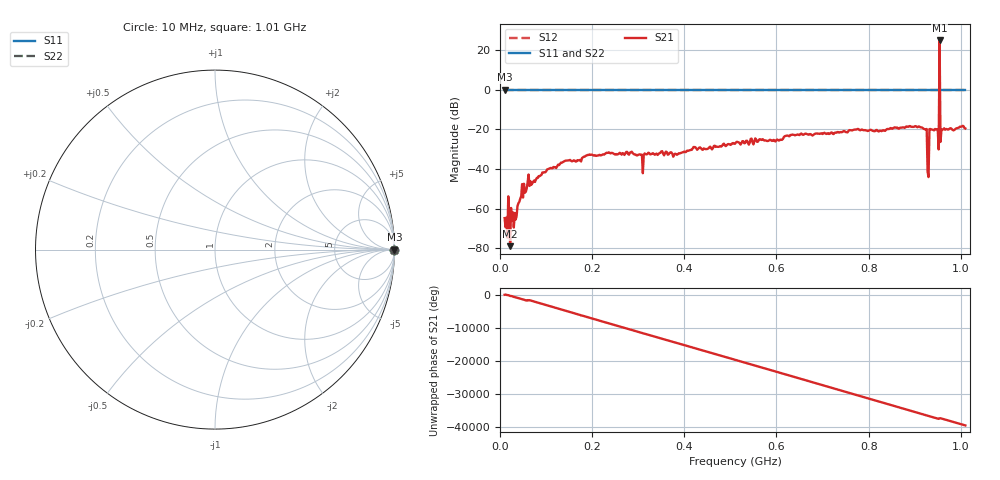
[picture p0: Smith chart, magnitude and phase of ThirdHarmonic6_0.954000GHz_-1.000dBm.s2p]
! 8/16/2025 6:57:51 AM
! C:\ANRITSUVNA\TEMP\TEMP.S2P
! CHANNEL.1
! TR.MEASUREMENT
! RAW.DATA
! RF.CORRECTION.OFF
! AVERAGING.OFF
! IF.BANDWIDTH: 5KHZ
! SWEEPTYPE:  FREQ.SWEEP(Linear)
! Reference Plane Port Info
! PORT:  PORT1  PORT2
! DISTANCE:  0  m  0  m
! TIME:  0  s  0  s
! PHASE.OFFSET:  0  deg.  0  deg.
! LOSS:  0  dB  0  dB
! REF.LOSS:  0  dB  0  dB
! REF.FREQ:  0  Hz  0  Hz
! Power Info
! POWER:  -20  dBm  -20  dBm
! EFF.POWER:  -20  dBm  -20  dBm
! SOURCE.ATTEN:  0  dB  0  dB
! TEST.ATTEN:  0  dB  0  dB
# GHZ S RI R 50.0
! FREQ.GHZ  S11RE  S11IM  S21RE  S21IM  S12RE  S12IM  S22RE  S22IM
!; PortSelection: Port_12
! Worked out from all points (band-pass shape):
!   501 points, 10 MHz to 1.01 GHz, reference 50 ohm
!   highest |S21| = 24.76 dB at 954 MHz (marker M1); lowest = -78.9 dB at 22 MHz (marker M2)
!   |S21| within 3 dB of the highest: 953.8908 MHz to 954.1173 MHz (226.5 kHz wide, 0.0237 % of centre)
!   lowest |S11| = 0.0 dB at 10 MHz (marker M3)
!   |S11| at or under -10 dB: nowhere
!   |S22| runs from 0.0 to 0.0 dB; largest |S21 - S12| = 18
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0.01  1 0  0.000507 -0.000274  1 0  1 0
0.022  1 0  9.5e-05 -6.13e-05  1 0  1 0
0.026  1 0  -8.91e-05 -0.000485  1 0  1 0
0.034  1 0  -9.33e-05 -0.000521  1 0  1 0
0.044  1 0  -0.0011 -0.00141  1 0  1 0
0.062  1 0  0.00213 0.00691  1 0  1 0
0.14  1 0  0.00157 -0.0156  1 0  1 0
0.178  1 0  -0.0188 -0.000399  1 0  1 0
0.344  1 0  0.021 -0.0115  1 0  1 0
0.51  1 0  -0.0379 0.0204  1 0  1 0
0.678  1 0  -0.055 -0.0427  1 0  1 0
0.844  1 0  0.1009 0.00302  1 0  1 0
0.922  1 0  0.0218 0.0982  1 0  1 0
0.926  1 0  0.0186 -0.1  1 0  1 0
0.932  1 0  0.0784 0.0637  1 0  1 0
0.936  1 0  -0.0587 -0.0801  1 0  1 0
0.948  1 0  -0.0429 0.0908  1 0  1 0
0.95  1 0  0.0813 0.0561  1 0  1 0
0.954  1 0  -11.19 13.18  1 0  1 0
0.958  1 0  0.0331 0.093  1 0  1 0
0.96  1 0  0.0969 -0.0171  1 0  1 0
1.01  1 0  -0.073 0.0748  1 0  1 0
